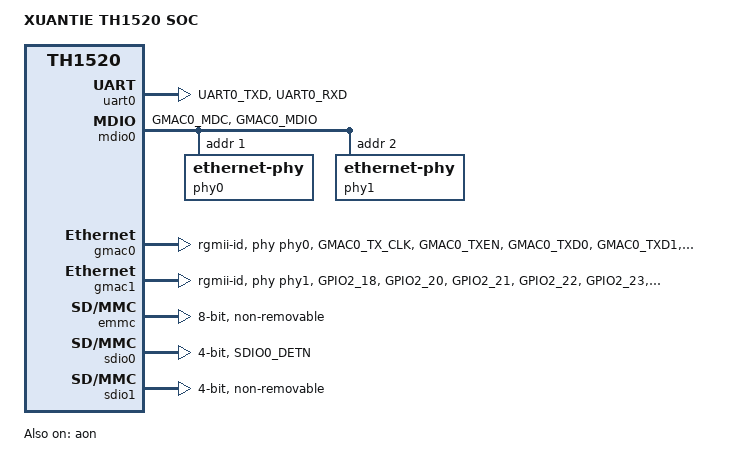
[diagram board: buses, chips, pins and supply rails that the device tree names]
/* SPDX-License-Identifier: GPL-2.0 */
/*
 * Copyright (C) 2021-2014 Alibaba Group Holding Limited.
 */

/dts-v1/;

#include "th1520.dtsi"
#include <dt-bindings/input/linux-event-codes.h>
#include <dt-bindings/gpio/gpio.h>

/ {
	model = "XUANTIE TH1520 SOC";
	compatible = "xuantie,th1520", "thead,th1520";


	chosen {
		bootargs = "console=ttyS0,115200 earlycon";
		stdout-path = "serial0:115200n8";
	};

	display-subsystem {
		status = "disabled";
	};

	lcd0_backlight: pwm-backlight@0 {
		status = "disabled";
		compatible = "pwm-backlight";
		pwms = <&pwm 0 5000000>;
		brightness-levels = <0 4 8 16 32 64 128 255>;
		default-brightness-level = <7>;
	};

	mbox_910t_client1: mbox_910t_client1 {
		compatible = "thead,light-mbox-client";
		mbox-names = "902";
		mboxes = <&mbox_910t 1 0>;
		status = "disabled";
	};

	mbox_910t_client2: mbox_910t_client2 {
		compatible = "thead,light-mbox-client";
		mbox-names = "906";
		mboxes = <&mbox_910t 2 0>;
		status = "disabled";
	};

	dummy_codec: dummy_codec {
		#sound-dai-cells = <0>;
		compatible = "thead,light-dummy-pcm";
		sound-name-prefix = "DUMMY";
		status = "disabled";
	};

	reg_vref_1v8: regulator-adc-verf {
		compatible = "regulator-fixed";
		regulator-name = "vref-1v8";
		regulator-min-microvolt = <1800000>;
		regulator-max-microvolt = <1800000>;
		status = "disabled";
	};

	reg_tp_pwr_en: regulator-pwr-en {
		compatible = "regulator-fixed";
		regulator-name = "PWR_EN";
		regulator-min-microvolt = <2800000>;
		regulator-max-microvolt = <2800000>;
		gpio = <&gpio1 12 1>;
		enable-active-high;
		regulator-always-on;
		status = "disabled";
	};

	wcn_wifi: wireless-wlan {
		compatible = "wlan-platdata";
		clock-names = "clk_wifi";
		ref-clock-frequency = <24000000>;
		keep_wifi_power_on;
		pinctrl-names = "default";
		wifi_chip_type = "rtl8723ds";
		WIFI,poweren_gpio = <&gpio2 29 0>;
		WIFI,reset_n = <&gpio2 24 0>;
		status = "disabled";
	};

	wcn_bt: wireless-bluetooth {
		compatible = "bluetooth-platdata";
		pinctrl-names = "default", "rts_gpio";
		BT,power_gpio    = <&gpio2 25 0>;
		status = "disabled";
	};
};

&resmem {
	#address-cells = <2>;
	#size-cells = <2>;
	ranges;
    audio_text_mem: memory@32000000 {
		reg = <0x0 0x32000000 0x0 0xE00000>;
		//no-map;
    };
    audio_data_mem: memory@32E00000 {
		reg = <0x0 0x32E00000 0x0 0x600000>;
		//no-map;
    };
	audio_log_mem: memory@33400000 {
        reg = <0x0 0x33400000 0x0 0x200000>;
	};
	//Note: with "no-map" reserv mem not saved in hibernation
	rpmsgmem: memory@1E000000 {
		reg = <0x0 0x1E000000 0x0 0x10000>;
	};
	aon_log_mem: memory@33600000 {
        reg = <0x0 0x33600000 0x0 0x200000>;
	};
};

&padctrl0_apsys {
	gmac0_pins: gmac0-0 {
		tx-pins {
			pins = "GMAC0_TX_CLK",
			       "GMAC0_TXEN",
			       "GMAC0_TXD0",
			       "GMAC0_TXD1",
			       "GMAC0_TXD2",
			       "GMAC0_TXD3";
			function = "gmac0";
			bias-disable;
			drive-strength = <25>;
			input-disable;
			input-schmitt-disable;
			slew-rate = <0>;
		};

		rx-pins {
			pins = "GMAC0_RX_CLK",
			       "GMAC0_RXDV",
			       "GMAC0_RXD0",
			       "GMAC0_RXD1",
			       "GMAC0_RXD2",
			       "GMAC0_RXD3";
			function = "gmac0";
			bias-disable;
			drive-strength = <1>;
			input-enable;
			input-schmitt-disable;
			slew-rate = <0>;
		};
	};

	gmac1_pins: gmac1-0 {
		tx-pins {
			pins = "GPIO2_18", /* GMAC1_TX_CLK */
			       "GPIO2_20", /* GMAC1_TXEN */
			       "GPIO2_21", /* GMAC1_TXD0 */
			       "GPIO2_22", /* GMAC1_TXD1 */
			       "GPIO2_23", /* GMAC1_TXD2 */
			       "GPIO2_24"; /* GMAC1_TXD3 */
			function = "gmac1";
			bias-disable;
			drive-strength = <25>;
			input-disable;
			input-schmitt-disable;
			slew-rate = <0>;
		};

		rx-pins {
			pins = "GPIO2_19", /* GMAC1_RX_CLK */
			       "GPIO2_25", /* GMAC1_RXDV */
			       "GPIO2_30", /* GMAC1_RXD0 */
			       "GPIO2_31", /* GMAC1_RXD1 */
			       "GPIO3_0",  /* GMAC1_RXD2 */
			       "GPIO3_1";  /* GMAC1_RXD3 */
			function = "gmac1";
			bias-disable;
			drive-strength = <1>;
			input-enable;
			input-schmitt-disable;
			slew-rate = <0>;
		};
	};

	i2c2_pins: i2c2-0 {
		i2c-pins {
			pins = "I2C2_SCL", "I2C2_SDA";
			function = "i2c";
			bias-disable;
			drive-strength = <7>;
			input-enable;
			input-schmitt-enable;
			slew-rate = <0>;
		};
	};

	i2c3_pins: i2c3-0 {
		i2c-pins {
			pins = "I2C3_SCL", "I2C3_SDA";
			function = "i2c";
			bias-disable;
			drive-strength = <7>;
			input-enable;
			input-schmitt-enable;
			slew-rate = <0>;
		};
	};

	mdio0_pins: mdio0-0 {
		mdc-pins {
			pins = "GMAC0_MDC";
			function = "gmac0";
			bias-disable;
			drive-strength = <13>;
			input-disable;
			input-schmitt-disable;
			slew-rate = <0>;
		};

		mdio-pins {
			pins = "GMAC0_MDIO";
			function = "gmac0";
			bias-disable;
			drive-strength = <13>;
			input-enable;
			input-schmitt-enable;
			slew-rate = <0>;
		};
	};

	uart0_pins: uart0-0 {
		tx-pins {
			pins = "UART0_TXD";
			function = "uart";
			bias-disable;
			drive-strength = <3>;
			input-disable;
			input-schmitt-disable;
			slew-rate = <0>;
		};

		rx-pins {
			pins = "UART0_RXD";
			function = "uart";
			bias-disable;
			drive-strength = <1>;
			input-enable;
			input-schmitt-enable;
			slew-rate = <0>;
		};
	};

	spi_pins: spi-0 {
		spi-pins {
			pins = "SPI_SCLK", "SPI_MOSI", "SPI_MISO";
			function = "spi";
			bias-disable;
			drive-strength = <7>;
			input-enable;
			input-schmitt-enable;
			slew-rate = <0>;
		};
	};

	qspi0_pins: qspi0-0 {
		qspi-pins {
			pins = "QSPI0_SCLK", "QSPI0_D0_MOSI", "QSPI0_D1_MISO", "QSPI0_D2_WP", "QSPI0_D3_HOLD";
			function = "qspi";
			bias-disable;
			drive-strength = <7>;
			input-enable;
			input-schmitt-enable;
			slew-rate = <0>;
		};
	};

	sdio0_pins: sdio0-0 {
		detn-pins {
			pins = "SDIO0_DETN";
			function = "sdio";
			bias-disable; /* external pull-up */
			drive-strength = <1>;
			input-enable;
			input-schmitt-enable;
			slew-rate = <0>;
		};
	};

	sdio0_pins: sdio0-0 {
		detn-pins {
			pins = "SDIO0_DETN";
			function = "sdio";
			bias-disable; /* external pull-up */
			drive-strength = <1>;
			input-enable;
			input-schmitt-enable;
			slew-rate = <0>;
		};
	};
};

&adc {
	status = "disable";
};

&i2c0 {
	status = "disabled";
};

&audio_i2c0 {
	status = "disabled";
};

&spi {
	status = "disabled";
};

&uart0 {
	pinctrl-names = "default";
	pinctrl-0 = <&uart0_pins>;
	status = "okay";
};

&qspi0 {
	status = "disabled";
};

&qspi1 {
	status = "disabled";
};

&mdio0 {
	pinctrl-names = "default";
	pinctrl-0 = <&mdio0_pins>;

	phy0: ethernet-phy@1 {
		reg = <1>;
	};

	phy1: ethernet-phy@2 {
		reg = <2>;
	};
};

&gmac0 {
	pinctrl-names = "default";
	pinctrl-0 = <&gmac0_pins>;
	phy-handle = <&phy0>;
	phy-mode = "rgmii-id";
	status = "okay";
};

&gmac1 {
	pinctrl-names = "default";
	pinctrl-0 = <&gmac1_pins>;
	phy-handle = <&phy1>;
	phy-mode = "rgmii-id";
	status = "okay";
};

&emmc {
	bus-width = <8>;
	max-frequency = <198000000>;
	mmc-hs400-1_8v;
	non-removable;
	no-sdio;
	no-sd;
	wprtn_ignore;
	status = "okay";
};

&sdio0 {
	pinctrl-names = "default";
	pinctrl-0 = <&sdio0_pins>;
	bus-width = <4>;
	max-frequency = <198000000>;
	no-sdio;
	status = "okay";
};

&sdio1 {
	max-frequency = <100000000>;
	bus-width = <4>;
	pull_up;
	no-sd;
	no-mmc;
	non-removable;
	io_fixed_1v8;
	post-power-on-delay-ms = <50>;
	wprtn_ignore;
	cap-sd-highspeed;
	wakeup-source;
	keep-power-in-suspend;
	status = "okay";
};

&i2c0 {
	clock-frequency = <400000>;
	status = "disabled";
};

&i2c1 {
	clock-frequency = <400000>;
	status = "disabled";
};

&i2c2 {
	clock-frequency = <400000>;
	status = "disabled";
};

&i2c3 {
	clock-frequency = <400000>;
	status = "disabled";
};

&i2c4 {
	clock-frequency = <400000>;
	status = "disabled";
};

&isp0 {
	status = "disabled";
};

&isp1 {
	status = "disabled";
};

&isp_ry0 {
	status = "disabled";
};

&dewarp {
	status = "disabled";
};

&dec400_isp0 {
	status = "disabled";
};

&dec400_isp1 {
	status = "disabled";
};

&dec400_isp2 {
	status = "disabled";
};

&bm_visys {
	status = "disabled";
};

&bm_csi0 {
	status = "disabled";
};

&bm_csi1 {
	status = "disabled";
};

&bm_csi2 {
	status = "disabled";
};

&vi_pre {
	status = "disabled";
};

&xtensa_dsp {
	status = "disabled";
};

&xtensa_dsp0 {
	status = "disabled";
};

&xtensa_dsp1 {
	status = "disabled";
};

&eip_28 {
	status = "disabled";
};

&vdec {
	status = "disabled";
};

&venc {
	status = "disabled";
};

&vidmem {
	status = "disabled";
};

&gpu {
	status = "disabled";
};

&npu {
	status = "disabled";
};

&dpu_enc0 {
	status = "disabled";
};

&dpu_enc1 {
	status = "disabled";
};

&dpu {
    status = "disabled";
};

&dsi0 {
    status = "disabled";
};

&dhost_0 {
	status = "disabled";
};

&disp1_out {
	status = "disabled";
};

&hdmi_tx {
	status = "disabled";
};

&audio_mbox {
	status = "disabled";
};

&th1520_event {
	status = "disabled";
};

&g2d {
	status = "disabled";
};

&osc {
	clock-frequency = <24000000>;
};

&osc_32k {
	clock-frequency = <32768>;
};

&rc_24m {
	clock-frequency = <24000000>;
};

&aonsys_clk {
	clock-frequency = <73728000>;
};

&aon {
    log-memory-region = <&aon_log_mem>;
	status = "okay";
};

&apb_clk {
	clock-frequency = <62500000>;
};

&sdhci_clk {
	clock-frequency = <198000000>;
};

&uart_sclk {
	clock-frequency = <100000000>;
};

&gmac_clk {
	clock-frequency = <500000000>;
};

&gmac_axi_clk {
	clock-frequency = <100000000>;
};
